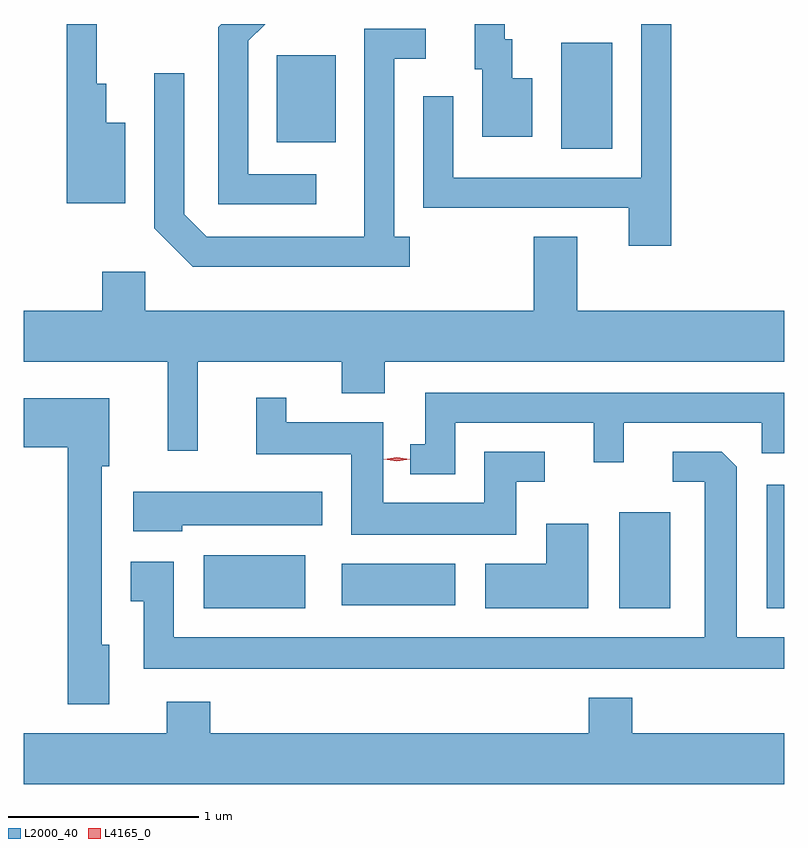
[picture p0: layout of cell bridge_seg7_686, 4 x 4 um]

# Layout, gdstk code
import gdstk
lib = gdstk.Library(unit=1e-6, precision=1e-09)
def R(c, l, rs):  # rectangles x0, y0, x1, y1
    for r in rs: c.add(gdstk.rectangle(r[:2], r[2:], *l))
def P(c, l, *ps):  # polygons
    for p in ps: c.add(gdstk.Polygon(p, *l))
L2000_40 = (2000, 40)
L4165_0 = (4165, 0)

bridge_seg7_686 = lib.new_cell('bridge_seg7_686')
R(bridge_seg7_686, L2000_40, [(856.846,1721.901,857.379,1722.179), (859.031,1721.901,859.299,1722.404), (859.806,1721.901,859.899,1722.549), (857.571,1721.916,858.169,1722.134), (858.726,1724.316,858.994,1724.874), (857.231,1724.351,857.539,1724.809)])
P(bridge_seg7_686, L2000_40, [(856.434,1724.454),(856.334,1724.454),(856.334,1724.659),(856.284,1724.659),(856.284,1724.973),(856.126,1724.973),(856.126,1724.031),(856.434,1724.031)],
  [(857.438,1724.184),(857.079,1724.184),(857.079,1724.884),(857.168,1724.973),(856.937,1724.973),(856.921,1724.957),(856.921,1724.026),(857.438,1724.026)],
  [(858.574,1724.689),(858.469,1724.689),(858.469,1724.894),(858.429,1724.894),(858.429,1724.973),(858.271,1724.973),(858.271,1724.736),(858.311,1724.736),(858.311,1724.381),(858.574,1724.381)],
  [(859.304,1724.973),(859.146,1724.973),(859.146,1724.164),(858.159,1724.164),(858.159,1724.593),(858.001,1724.593),(858.001,1724.006),(859.081,1724.006),(859.081,1723.806),(859.304,1723.806)],
  [(857.928,1723.854),(857.849,1723.854),(857.849,1724.791),(858.013,1724.791),(858.013,1724.949),(857.691,1724.949),(857.691,1723.854),(856.862,1723.854),(856.744,1723.972),(856.744,1724.713),(856.586,1724.713),(856.586,1723.899),(856.789,1723.696),(857.928,1723.696)],
  [(856.814,1723.196),(857.571,1723.196),(857.571,1723.031),(857.799,1723.031),(857.799,1723.196),(859.899,1723.196),(859.899,1723.464),(858.809,1723.464),(858.809,1723.854),(858.581,1723.854),(858.581,1723.464),(856.539,1723.464),(856.539,1723.669),(856.311,1723.669),(856.311,1723.464),(855.899,1723.464),(855.899,1723.196),(856.656,1723.196),(856.656,1722.728),(856.814,1722.728)],
  [(858.169,1722.876),(858.896,1722.876),(858.896,1722.668),(859.054,1722.668),(859.054,1722.876),(859.781,1722.876),(859.781,1722.716),(859.899,1722.716),(859.899,1723.034),(858.011,1723.034),(858.011,1722.764),(857.933,1722.764),(857.933,1722.606),(858.169,1722.606)],
  [(858.489,1722.566),(858.638,1722.566),(858.638,1722.724),(858.321,1722.724),(858.321,1722.454),(857.789,1722.454),(857.789,1722.879),(857.279,1722.879),(857.279,1723.008),(857.121,1723.008),(857.121,1722.711),(857.621,1722.711),(857.621,1722.286),(858.489,1722.286)],
  [(856.349,1721.709),(856.309,1721.709),(856.309,1722.646),(856.349,1722.646),(856.349,1723.004),(855.899,1723.004),(855.899,1722.746),(856.131,1722.746),(856.131,1721.396),(856.349,1721.396)],
  [(859.899,1721.749),(859.649,1721.749),(859.649,1722.644),(859.569,1722.724),(859.313,1722.724),(859.313,1722.566),(859.481,1722.566),(859.481,1721.749),(856.689,1721.749),(856.689,1722.144),(856.461,1722.144),(856.461,1721.936),(856.531,1721.936),(856.531,1721.581),(859.899,1721.581)],
  [(856.734,1722.336),(857.469,1722.336),(857.469,1722.514),(856.476,1722.514),(856.476,1722.306),(856.734,1722.306)],
  [(858.869,1722.344),(858.646,1722.344),(858.646,1722.134),(858.326,1722.134),(858.326,1721.901),(858.869,1721.901)],
  [(859.899,1721.244),(859.099,1721.244),(859.099,1721.429),(858.871,1721.429),(858.871,1721.244),(856.879,1721.244),(856.879,1721.409),(856.651,1721.409),(856.651,1721.244),(855.899,1721.244),(855.899,1720.976),(859.899,1720.976)])
P(bridge_seg7_686, L4165_0, [(857.861,1722.674),(857.792,1722.684),(857.792,1722.684),(857.792,1722.684),(857.861,1722.694),(857.931,1722.685),(857.931,1722.685),(857.931,1722.684)])

lib.write_gds('bridge_seg7_686.gds')
